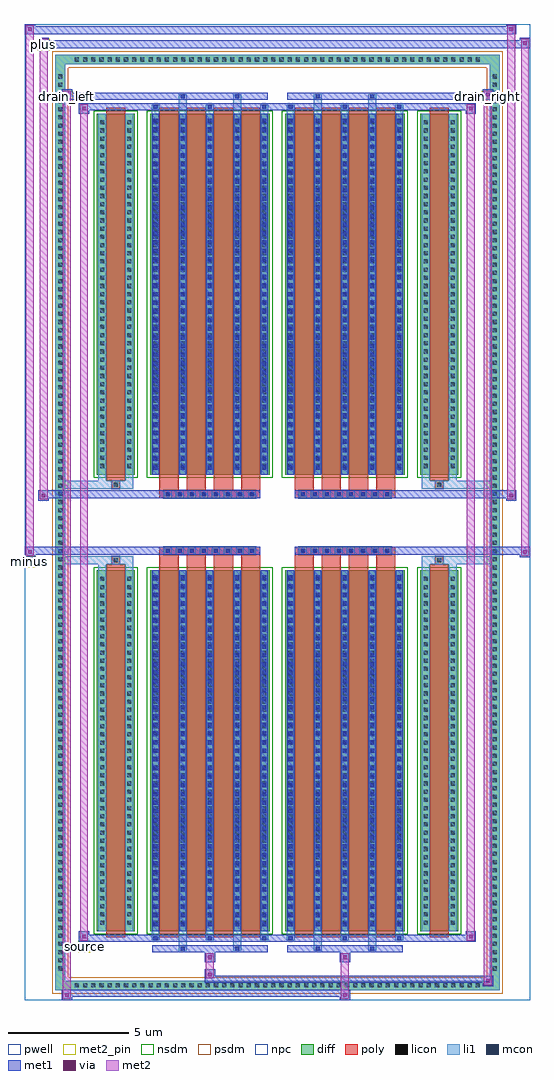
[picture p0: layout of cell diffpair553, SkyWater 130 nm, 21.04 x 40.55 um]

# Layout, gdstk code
import gdstk
lib = gdstk.Library(unit=1e-6, precision=5e-09)
def R(c, l, rs):  # rectangles x0, y0, x1, y1
    for r in rs: c.add(gdstk.rectangle(r[:2], r[2:], *l))
def A(c, l, x, y, w, h, nx, ny, dx, dy):  # array of equal rectangles
    R(c, l, [(x+i*dx, y+j*dy, x+i*dx+w, y+j*dy+h) for i in range(nx) for j in range(ny)])
def P(c, l, *ps):  # polygons
    for p in ps: c.add(gdstk.Polygon(p, *l))
pwell = (64, 44)
diff = (65, 20)
poly = (66, 20)
licon = (66, 44)
li1 = (67, 20)
mcon = (67, 44)
met1 = (68, 20)
via = (68, 44)
met2_pin = (69, 16)
met2 = (69, 20)
nsdm = (93, 44)
psdm = (94, 20)
npc = (95, 20)

diffpair553 = lib.new_cell('diffpair553')
R(diffpair553, pwell, [(-10.5,-19.84,10.5,20.71), (-7.82,-18.03,-0.01,-0.805), (0.01,-18.03,7.82,-0.805), (-7.82,0.805,-0.01,18.03), (0.01,0.805,7.82,18.03)])
A(diffpair553, diff, -8.535, -19.44, 0.41, 0.41, 50, 2, 0.34, 38.47)
A(diffpair553, diff, -9.23, -18.735, 0.41, 0.41, 1, 110, 0, 0.34)
A(diffpair553, diff, 8.82, -18.735, 0.41, 0.41, 1, 110, 0, 0.34)
R(diffpair553, diff, [(-8.535,-19.44,8.535,-19.03), (-9.23,-18.735,-8.82,18.735), (8.82,-18.735,9.23,18.735), (-7.51,-16.985,-5.93,-1.985), (-5.29,-16.985,-0.32,-1.985), (0.32,-16.985,5.29,-1.985), (5.93,-16.985,7.51,-1.985), (-7.51,1.985,-5.93,16.985), (-5.29,1.985,-0.32,16.985), (0.32,1.985,5.29,16.985), (5.93,1.985,7.51,16.985), (-8.535,19.03,8.535,19.44)])
P(diffpair553, diff, [(9.23,19.44),(-9.23,19.44),(-9.23,-19.03),(-8.82,-19.03),(-8.82,19.03),(8.82,19.03),(8.82,-19.03),(-8.82,-19.03),(-9.23,-19.03),(-9.23,-19.44),(9.23,-19.44)])
A(diffpair553, poly, -4.9, -17.235, 0.8, 15.5, 4, 2, 1.13, 18.97)
A(diffpair553, poly, 0.71, -17.235, 0.8, 15.5, 4, 2, 1.13, 18.97)
A(diffpair553, poly, -4.9, -1.735, 0.8, 0.4, 4, 2, 1.13, 3.07)
A(diffpair553, poly, 0.71, -1.735, 0.8, 0.4, 4, 2, 1.13, 3.07)
A(diffpair553, poly, -4.72, -1.335, 0.33, 0.33, 8, 2, 0.5, 2.34)
A(diffpair553, poly, 0.89, -1.335, 0.33, 0.33, 8, 2, 0.5, 2.34)
R(diffpair553, poly, [(-7.12,-17.235,-6.32,-1.735), (6.32,-17.235,7.12,-1.735), (-6.885,-1.735,-6.555,-1.405), (-6.885,-1.735,-6.555,-1.405), (6.555,-1.735,6.885,-1.405), (6.555,-1.735,6.885,-1.405), (-4.9,-1.335,-0.71,-1.005), (0.71,-1.335,4.9,-1.005), (-4.9,1.005,-0.71,1.335), (0.71,1.005,4.9,1.335), (-6.885,1.405,-6.555,1.735), (-6.885,1.405,-6.555,1.735), (6.555,1.405,6.885,1.735), (6.555,1.405,6.885,1.735), (-7.12,1.735,-6.32,17.235), (6.32,1.735,7.12,17.235)])
A(diffpair553, licon, -8.415, -19.32, 0.17, 0.17, 50, 2, 0.34, 38.47)
A(diffpair553, licon, -9.11, -18.615, 0.17, 0.17, 1, 110, 0, 0.34)
A(diffpair553, licon, 8.94, -18.615, 0.17, 0.17, 1, 110, 0, 0.34)
A(diffpair553, licon, -7.37, -16.71, 0.17, 0.17, 1, 43, 0, 0.34)
A(diffpair553, licon, -6.24, -16.71, 0.17, 0.17, 1, 43, 0, 0.34)
A(diffpair553, licon, -5.15, -16.71, 0.17, 0.17, 5, 43, 1.13, 0.34)
A(diffpair553, licon, 0.46, -16.71, 0.17, 0.17, 5, 43, 1.13, 0.34)
A(diffpair553, licon, 6.07, -16.71, 0.17, 0.17, 1, 43, 0, 0.34)
A(diffpair553, licon, 7.2, -16.71, 0.17, 0.17, 1, 43, 0, 0.34)
A(diffpair553, licon, -4.64, -1.255, 0.17, 0.17, 8, 2, 0.5, 2.34)
A(diffpair553, licon, 0.97, -1.255, 0.17, 0.17, 8, 2, 0.5, 2.34)
A(diffpair553, licon, -7.37, 2.26, 0.17, 0.17, 1, 43, 0, 0.34)
A(diffpair553, licon, -6.24, 2.26, 0.17, 0.17, 1, 43, 0, 0.34)
A(diffpair553, licon, -5.15, 2.26, 0.17, 0.17, 5, 43, 1.13, 0.34)
A(diffpair553, licon, 0.46, 2.26, 0.17, 0.17, 5, 43, 1.13, 0.34)
A(diffpair553, licon, 6.07, 2.26, 0.17, 0.17, 1, 43, 0, 0.34)
A(diffpair553, licon, 7.2, 2.26, 0.17, 0.17, 1, 43, 0, 0.34)
R(diffpair553, licon, [(-6.805,-1.655,-6.635,-1.485), (6.635,-1.655,6.805,-1.485), (-6.805,1.485,-6.635,1.655), (6.635,1.485,6.805,1.655)])
A(diffpair553, li1, -8.495, -19.4, 0.33, 0.33, 50, 2, 0.34, 38.47)
A(diffpair553, li1, -9.19, -18.695, 0.33, 0.33, 1, 110, 0, 0.34)
A(diffpair553, li1, 8.86, -18.695, 0.33, 0.33, 1, 110, 0, 0.34)
A(diffpair553, li1, -5.23, -17.36, 0.33, 0.375, 3, 2, 2.26, 34.345)
A(diffpair553, li1, -5.15, -17.36, 0.17, 0.17, 3, 2, 2.26, 34.55)
A(diffpair553, li1, 0.38, -17.36, 0.33, 0.375, 3, 2, 2.26, 34.345)
A(diffpair553, li1, 0.46, -17.36, 0.17, 0.17, 3, 2, 2.26, 34.55)
A(diffpair553, li1, -5.23, -16.985, 0.33, 15, 5, 2, 1.13, 18.97)
A(diffpair553, li1, 0.38, -16.985, 0.33, 15, 5, 2, 1.13, 18.97)
A(diffpair553, li1, -7.45, -16.79, 0.33, 0.33, 1, 43, 0, 0.34)
A(diffpair553, li1, -6.32, -16.79, 0.33, 0.33, 1, 43, 0, 0.34)
A(diffpair553, li1, -5.23, -16.79, 0.33, 0.33, 5, 43, 1.13, 0.34)
A(diffpair553, li1, 0.38, -16.79, 0.33, 0.33, 5, 43, 1.13, 0.34)
A(diffpair553, li1, 5.99, -16.79, 0.33, 0.33, 1, 43, 0, 0.34)
A(diffpair553, li1, 7.12, -16.79, 0.33, 0.33, 1, 43, 0, 0.34)
A(diffpair553, li1, -5.15, -16.77, 0.17, 0.17, 5, 41, 1.13, 0.36)
A(diffpair553, li1, -5.15, -16.77, 0.17, 14.57, 5, 2, 1.13, 18.97)
A(diffpair553, li1, 0.46, -16.77, 0.17, 0.17, 5, 41, 1.13, 0.36)
A(diffpair553, li1, 0.46, -16.77, 0.17, 14.57, 5, 2, 1.13, 18.97)
A(diffpair553, li1, -4.72, -1.335, 0.33, 0.33, 8, 2, 0.5, 2.34)
A(diffpair553, li1, 0.89, -1.335, 0.33, 0.33, 8, 2, 0.5, 2.34)
A(diffpair553, li1, -7.45, 2.18, 0.33, 0.33, 1, 43, 0, 0.34)
A(diffpair553, li1, -6.32, 2.18, 0.33, 0.33, 1, 43, 0, 0.34)
A(diffpair553, li1, -5.23, 2.18, 0.33, 0.33, 5, 43, 1.13, 0.34)
A(diffpair553, li1, 0.38, 2.18, 0.33, 0.33, 5, 43, 1.13, 0.34)
A(diffpair553, li1, 5.99, 2.18, 0.33, 0.33, 1, 43, 0, 0.34)
A(diffpair553, li1, 7.12, 2.18, 0.33, 0.33, 1, 43, 0, 0.34)
A(diffpair553, li1, -5.15, 2.2, 0.17, 0.17, 5, 41, 1.13, 0.36)
A(diffpair553, li1, 0.46, 2.2, 0.17, 0.17, 5, 41, 1.13, 0.36)
R(diffpair553, li1, [(-9.23,-19.44,-8.82,-19.03), (-9.23,-19.44,-8.82,-19.03), (-8.82,-19.44,8.82,-19.03), (8.82,-19.44,9.23,-19.03), (8.82,-19.44,9.23,-19.03), (-9.23,-19.03,-8.82,19.03), (8.82,-19.03,9.23,19.03), (-4.1,-17.79,-3.77,-16.985), (-4.02,-17.79,-3.85,-17.62), (-1.84,-17.79,-1.51,-16.985), (-1.76,-17.79,-1.59,-17.62), (1.51,-17.79,1.84,-16.985), (1.59,-17.79,1.76,-17.62), (3.77,-17.79,4.1,-16.985), (3.85,-17.79,4.02,-17.62), (-7.45,-16.985,-7.12,-1.985), (-6.32,-16.985,-5.99,-1.985), (5.99,-16.985,6.32,-1.985), (7.12,-16.985,7.45,-1.985), (-7.45,-1.985,-7.12,-1.405), (-6.32,-1.985,-5.99,-1.405), (5.99,-1.985,6.32,-1.405), (7.12,-1.985,7.45,-1.405), (-9.23,-1.735,-6.885,-1.405), (-7.45,-1.735,-6.885,-1.405), (-6.885,-1.735,-6.555,-1.405), (-6.555,-1.735,-5.99,-1.405), (5.99,-1.735,6.555,-1.405), (6.555,-1.735,6.885,-1.405), (6.555,-1.735,9.23,-1.405), (6.885,-1.735,7.45,-1.405), (-9.23,1.405,-6.885,1.735), (-7.45,1.405,-6.885,1.735), (-7.45,1.405,-7.12,1.985), (-6.885,1.405,-6.555,1.735), (-6.555,1.405,-5.99,1.735), (-6.32,1.405,-5.99,1.985), (5.99,1.405,6.555,1.735), (5.99,1.405,6.32,1.985), (6.555,1.405,6.885,1.735), (6.555,1.405,9.23,1.735), (6.885,1.405,7.45,1.735), (7.12,1.405,7.45,1.985), (-7.45,1.985,-7.12,16.985), (-6.32,1.985,-5.99,16.985), (5.99,1.985,6.32,16.985), (7.12,1.985,7.45,16.985), (-4.1,16.985,-3.77,17.79), (-1.84,16.985,-1.51,17.79), (1.51,16.985,1.84,17.79), (3.77,16.985,4.1,17.79), (-4.02,17.62,-3.85,17.79), (-1.76,17.62,-1.59,17.79), (1.59,17.62,1.76,17.79), (3.85,17.62,4.02,17.79), (-9.23,19.03,-8.82,19.44), (-9.23,19.03,-8.82,19.44), (-8.82,19.03,8.82,19.44), (8.82,19.03,9.23,19.44), (8.82,19.03,9.23,19.44)])
A(diffpair553, mcon, -5.15, -17.36, 0.17, 0.17, 3, 2, 2.26, 34.55)
A(diffpair553, mcon, 0.46, -17.36, 0.17, 0.17, 3, 2, 2.26, 34.55)
A(diffpair553, mcon, -5.15, -16.77, 0.17, 0.17, 5, 41, 1.13, 0.36)
A(diffpair553, mcon, 0.46, -16.77, 0.17, 0.17, 5, 41, 1.13, 0.36)
A(diffpair553, mcon, -4.64, -1.255, 0.17, 0.17, 8, 2, 0.5, 2.34)
A(diffpair553, mcon, 0.97, -1.255, 0.17, 0.17, 8, 2, 0.5, 2.34)
A(diffpair553, mcon, -5.15, 2.2, 0.17, 0.17, 5, 41, 1.13, 0.36)
A(diffpair553, mcon, 0.46, 2.2, 0.17, 0.17, 5, 41, 1.13, 0.36)
R(diffpair553, mcon, [(-4.02,-17.79,-3.85,-17.62), (-1.76,-17.79,-1.59,-17.62), (1.59,-17.79,1.76,-17.62), (3.85,-17.79,4.02,-17.62), (-4.02,17.62,-3.85,17.79), (-1.76,17.62,-1.59,17.79), (1.59,17.62,1.76,17.79), (3.85,17.62,4.02,17.79)])
A(diffpair553, met1, -5.21, -17.42, 0.29, 0.29, 3, 2, 2.26, 34.55)
A(diffpair553, met1, 0.4, -17.42, 0.29, 0.29, 3, 2, 2.26, 34.55)
A(diffpair553, met1, -5.21, -16.985, 0.29, 15, 5, 2, 1.13, 18.97)
A(diffpair553, met1, 0.4, -16.985, 0.29, 15, 5, 2, 1.13, 18.97)
A(diffpair553, met1, -5.21, -16.83, 0.29, 0.29, 5, 41, 1.13, 0.36)
A(diffpair553, met1, 0.4, -16.83, 0.29, 0.29, 5, 41, 1.13, 0.36)
A(diffpair553, met1, -4.7, -1.315, 0.29, 0.29, 8, 2, 0.5, 2.34)
A(diffpair553, met1, 0.91, -1.315, 0.29, 0.29, 8, 2, 0.5, 2.34)
A(diffpair553, met1, -5.21, 2.14, 0.29, 0.29, 5, 41, 1.13, 0.36)
A(diffpair553, met1, 0.4, 2.14, 0.29, 0.29, 5, 41, 1.13, 0.36)
R(diffpair553, met1, [(-8.96,-19.84,-8.53,-19.41), (2.59,-19.84,3.02,-19.41), (-8.96,-19.7,3.02,-19.41), (8.53,-19.27,8.96,-18.84), (-3.02,-19.13,8.96,-18.84), (-3.02,-18.99,-2.59,-18.56), (-3.02,-18.28,-2.59,-17.85), (2.59,-18.28,3.02,-17.85), (-5.21,-17.85,-0.4,-17.56), (-4.08,-17.85,-3.79,-17.56), (-1.82,-17.85,-1.53,-17.56), (0.4,-17.85,5.21,-17.56), (1.53,-17.85,1.82,-17.56), (3.79,-17.85,4.08,-17.56), (-8.25,-17.42,-7.82,-16.99), (-8.25,-17.42,-5.21,-17.13), (-5.21,-17.42,-0.4,-17.13), (-0.4,-17.42,0.4,-17.13), (0.4,-17.42,5.21,-17.13), (5.21,-17.42,8.25,-17.13), (7.82,-17.42,8.25,-16.99), (-10.5,-1.435,-10.07,-1.005), (10.07,-1.435,10.5,-1.005), (-10.5,-1.335,-0.71,-1.005), (-4.9,-1.335,-0.71,-1.005), (0.71,-1.335,4.9,-1.005), (0.71,-1.335,10.5,-1.005), (-9.93,0.905,-9.5,1.335), (9.5,0.905,9.93,1.335), (-9.93,1.005,-4.9,1.335), (-4.9,1.005,-0.71,1.335), (0.71,1.005,4.9,1.335), (4.9,1.005,9.93,1.335), (-8.25,16.99,-7.82,17.42), (7.82,16.99,8.25,17.42), (-8.25,17.13,-5.21,17.42), (-5.21,17.13,-0.4,17.42), (-0.4,17.13,0.4,17.42), (0.4,17.13,5.21,17.42), (5.21,17.13,8.25,17.42), (-8.96,17.56,-8.53,17.99), (-8.96,17.56,-5.21,17.85), (-5.21,17.56,-0.4,17.85), (-4.08,17.56,-3.79,17.85), (-1.82,17.56,-1.53,17.85), (0.4,17.56,5.21,17.85), (1.53,17.56,1.82,17.85), (3.79,17.56,4.08,17.85), (5.21,17.56,8.96,17.85), (8.53,17.56,8.96,17.99), (-9.93,19.71,-9.5,20.14), (-9.93,19.71,-7.82,20.04), (-7.82,19.71,7.82,20.04), (7.82,19.71,10.5,20.04), (10.07,19.71,10.5,20.14), (-10.5,20.28,-10.07,20.71), (-10.5,20.28,-7.82,20.61), (-7.82,20.28,7.82,20.61), (7.82,20.28,9.93,20.61), (9.5,20.28,9.93,20.71)])
R(diffpair553, via, [(-8.82,-19.7,-8.67,-19.55), (2.73,-19.7,2.88,-19.55), (8.67,-19.13,8.82,-18.98), (-2.88,-18.85,-2.73,-18.7), (-2.88,-18.14,-2.73,-17.99), (2.73,-18.14,2.88,-17.99), (-8.11,-17.28,-7.96,-17.13), (7.96,-17.28,8.11,-17.13), (-10.36,-1.295,-10.21,-1.145), (10.21,-1.295,10.36,-1.145), (-9.79,1.045,-9.64,1.195), (9.64,1.045,9.79,1.195), (-8.11,17.13,-7.96,17.28), (7.96,17.13,8.11,17.28), (-8.82,17.7,-8.67,17.85), (8.67,17.7,8.82,17.85), (-9.79,19.85,-9.64,20), (10.21,19.85,10.36,20), (-10.36,20.42,-10.21,20.57), (9.64,20.42,9.79,20.57)])
R(diffpair553, met2_pin, [(-8.285,-17.87,-7.785,-17.37), (-10.535,-1.885,-10.035,-1.385), (-8.995,17.44,-8.495,17.94), (8.495,17.44,8.995,17.94), (-9.965,19.59,-9.465,20.09)])
R(diffpair553, met2, [(-8.91,-19.79,-8.58,-19.46), (-8.91,-19.79,-8.58,17.94), (2.64,-19.79,2.97,-19.46), (2.64,-19.46,2.97,-18.23), (8.58,-19.22,8.91,-18.89), (8.58,-19.22,8.91,17.94), (-2.97,-18.94,-2.64,-18.61), (-2.97,-18.61,-2.64,-18.23), (-2.97,-18.23,-2.64,-17.9), (2.64,-18.23,2.97,-17.9), (-8.2,-17.37,-7.87,-17.04), (-8.2,-17.37,-7.87,17.37), (7.87,-17.37,8.2,-17.04), (7.87,-17.37,8.2,17.37), (-10.45,-1.385,-10.12,-1.055), (-10.45,-1.385,-10.12,20.66), (10.12,-1.385,10.45,-1.055), (10.12,-1.385,10.45,20.09), (-9.88,0.955,-9.55,1.285), (-9.88,0.955,-9.55,20.09), (9.55,0.955,9.88,1.285), (9.55,0.955,9.88,20.66), (-8.2,17.04,-7.87,17.37), (7.87,17.04,8.2,17.37), (-8.91,17.61,-8.58,17.94), (8.58,17.61,8.91,17.94), (-9.88,19.76,-9.55,20.09), (10.12,19.76,10.45,20.09), (-10.45,20.33,-10.12,20.66), (9.55,20.33,9.88,20.66)])
P(diffpair553, met2, [(10.45,-1.385),(10.45,-1.385),(10.45,-1.055),(10.45,-1.055)],
  [(10.45,19.76),(10.45,19.76),(10.45,20.09),(10.45,20.09)],
  [(-10.12,-1.385),(-10.12,-1.385),(-10.12,-1.055),(-10.12,-1.055)],
  [(-10.12,20.33),(-10.12,20.33),(-10.12,20.66),(-10.12,20.66)],
  [(9.88,0.955),(9.88,0.955),(9.88,1.285),(9.88,1.285)],
  [(9.88,20.33),(9.88,20.33),(9.88,20.66),(9.88,20.66)],
  [(-9.55,0.955),(-9.55,0.955),(-9.55,1.285),(-9.55,1.285)],
  [(-9.55,19.76),(-9.55,19.76),(-9.55,20.09),(-9.55,20.09)],
  [(-8.58,-19.79),(-8.58,-19.79),(-8.58,-19.46),(-8.58,-19.46)],
  [(-8.58,17.61),(-8.58,17.61),(-8.58,17.94),(-8.58,17.94)],
  [(8.91,-19.22),(8.91,-19.22),(8.91,-18.89),(8.91,-18.89)],
  [(8.91,17.61),(8.91,17.61),(8.91,17.94),(8.91,17.94)],
  [(-7.87,-17.37),(-7.87,-17.37),(-7.87,-17.04),(-7.87,-17.04)],
  [(-7.87,17.04),(-7.87,17.04),(-7.87,17.37),(-7.87,17.37)],
  [(8.2,-17.37),(8.2,-17.37),(8.2,-17.04),(8.2,-17.04)],
  [(8.2,17.04),(8.2,17.04),(8.2,17.37),(8.2,17.37)])
R(diffpair553, nsdm, [(-7.64,-17.115,-5.8,-1.855), (-5.42,-17.115,-0.19,-1.855), (0.19,-17.115,5.42,-1.855), (5.8,-17.115,7.64,-1.855), (-7.64,1.855,-5.8,17.115), (-5.42,1.855,-0.19,17.115), (0.19,1.855,5.42,17.115), (5.8,1.855,7.64,17.115)])
P(diffpair553, psdm, [(9.36,19.57),(-9.36,19.57),(-9.36,-18.9),(-8.69,-18.9),(-8.69,18.9),(8.69,18.9),(8.69,-18.9),(-8.69,-18.9),(-9.36,-18.9),(-9.36,-19.57),(9.36,-19.57)])
A(diffpair553, npc, -4.74, -1.355, 0.37, 0.37, 8, 2, 0.5, 2.34)
A(diffpair553, npc, 0.87, -1.355, 0.37, 0.37, 8, 2, 0.5, 2.34)
R(diffpair553, npc, [(-6.905,-1.755,-6.535,-1.385), (6.535,-1.755,6.905,-1.385), (-4.74,-1.355,-3.87,-0.985), (-4.74,-1.355,-3.87,-0.985), (-4.24,-1.355,-3.37,-0.985), (-4.24,-1.355,-3.37,-0.985), (-3.74,-1.355,-2.87,-0.985), (-3.74,-1.355,-2.87,-0.985), (-3.24,-1.355,-2.37,-0.985), (-3.24,-1.355,-2.37,-0.985), (-2.74,-1.355,-1.87,-0.985), (-2.74,-1.355,-1.87,-0.985), (-2.24,-1.355,-1.37,-0.985), (-2.24,-1.355,-1.37,-0.985), (-1.74,-1.355,-0.87,-0.985), (-1.74,-1.355,-0.87,-0.985), (0.87,-1.355,1.74,-0.985), (0.87,-1.355,1.74,-0.985), (1.37,-1.355,2.24,-0.985), (1.37,-1.355,2.24,-0.985), (1.87,-1.355,2.74,-0.985), (1.87,-1.355,2.74,-0.985), (2.37,-1.355,3.24,-0.985), (2.37,-1.355,3.24,-0.985), (2.87,-1.355,3.74,-0.985), (2.87,-1.355,3.74,-0.985), (3.37,-1.355,4.24,-0.985), (3.37,-1.355,4.24,-0.985), (3.87,-1.355,4.74,-0.985), (3.87,-1.355,4.74,-0.985), (-4.74,0.985,-3.87,1.355), (-4.74,0.985,-3.87,1.355), (-4.24,0.985,-3.37,1.355), (-4.24,0.985,-3.37,1.355), (-3.74,0.985,-2.87,1.355), (-3.74,0.985,-2.87,1.355), (-3.24,0.985,-2.37,1.355), (-3.24,0.985,-2.37,1.355), (-2.74,0.985,-1.87,1.355), (-2.74,0.985,-1.87,1.355), (-2.24,0.985,-1.37,1.355), (-2.24,0.985,-1.37,1.355), (-1.74,0.985,-0.87,1.355), (-1.74,0.985,-0.87,1.355), (0.87,0.985,1.74,1.355), (0.87,0.985,1.74,1.355), (1.37,0.985,2.24,1.355), (1.37,0.985,2.24,1.355), (1.87,0.985,2.74,1.355), (1.87,0.985,2.74,1.355), (2.37,0.985,3.24,1.355), (2.37,0.985,3.24,1.355), (2.87,0.985,3.74,1.355), (2.87,0.985,3.74,1.355), (3.37,0.985,4.24,1.355), (3.37,0.985,4.24,1.355), (3.87,0.985,4.74,1.355), (3.87,0.985,4.74,1.355), (-6.905,1.385,-6.535,1.755), (6.535,1.385,6.905,1.755)])
diffpair553.add(gdstk.Label('minus', (-10.285,-1.635), layer=69, texttype=5))
diffpair553.add(gdstk.Label('drain_right', (8.745,17.69), layer=69, texttype=5))
diffpair553.add(gdstk.Label('drain_left', (-8.745,17.69), layer=69, texttype=5))
diffpair553.add(gdstk.Label('source', (-8.035,-17.62), layer=69, texttype=5))
diffpair553.add(gdstk.Label('plus', (-9.715,19.84), layer=69, texttype=5))

lib.write_gds('diffpair553.gds')
